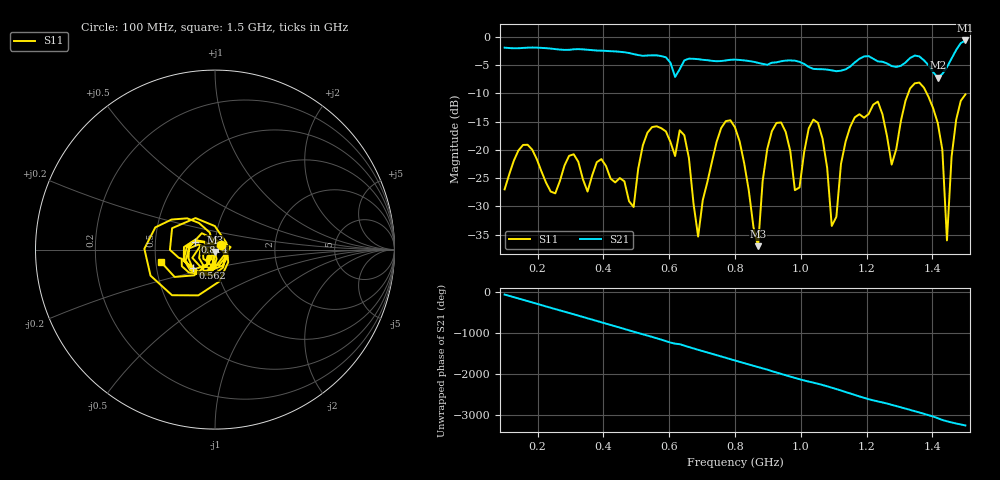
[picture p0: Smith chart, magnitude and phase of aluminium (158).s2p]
! NanoVNA-App
! Date: 2025-09-25 14:56:30
! Start: 100MHz Stop: 1,5GHz Points: 101
! S-Parameter data: F S11 S21 S12 S22
# Hz S RI R 50
!  Frequency  S11_Real  S11_Imag  S21_Real  S21_Imag  S12_Real  S12_Imag  S22_Real  S22_Imag
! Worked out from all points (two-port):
!   101 points, 100 MHz to 1.5 GHz, reference 50 ohm
!   highest |S21| = -0.64 dB at 1.5 GHz (marker M1); lowest = -7.2 dB at 1.416 GHz (marker M2)
!   |S21| within 3 dB of the highest: start of sweep to 590.2 MHz; 1.46 GHz to end of sweep (the widest 2 of 4)
!   lowest |S11| = -37.1 dB at 870 MHz (marker M3), VSWR 1.03, Z = 49.8 - j1.38 ohm
!   |S11| at or under -10 dB: start of sweep to 1.326 GHz; 1.383 GHz to end of sweep
!   S12 and S22 are empty: the file has one direction only
!   S11 on the Smith chart (normalised r, x): 100 MHz: 1.07, +0.06; 562 MHz: 0.76, -0.16; 814 MHz: 0.80, +0.07; 1.5 GHz: 0.53, -0.08
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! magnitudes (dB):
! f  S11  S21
! 100 MHz  -27.0  -1.9
! 338 MHz  -25.2  -2.2
! 492 MHz  -30.1  -3.1
! 562 MHz  -15.8  -3.3
! 576 MHz  -16.2  -3.4
! 646 MHz  -17.4  -4.2
! 688 MHz  -35.4  -4.0
! 800 MHz  -16.0  -4.0
! 814 MHz  -18.5  -4.1
! 870 MHz  -37.1  -4.6
! 912 MHz  -16.7  -4.6
! 982 MHz  -27.1  -4.2
! 1.038 GHz  -14.6  -5.7
! 1.094 GHz  -33.5  -5.9
! 1.164 GHz  -14.2  -4.5
! 1.234 GHz  -11.5  -4.4
! 1.276 GHz  -22.6  -5.2
! 1.346 GHz  -8.2  -3.3
! 1.416 GHz  -15.3  -7.2
! 1.444 GHz  -36.0  -5.4
! 1.472 GHz  -14.7  -2.3
! 1.5 GHz  -10.2  -0.6
